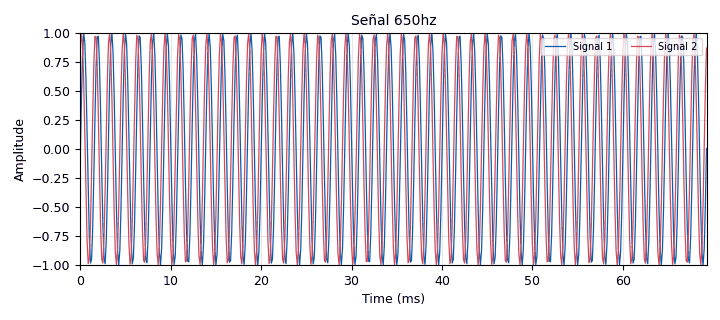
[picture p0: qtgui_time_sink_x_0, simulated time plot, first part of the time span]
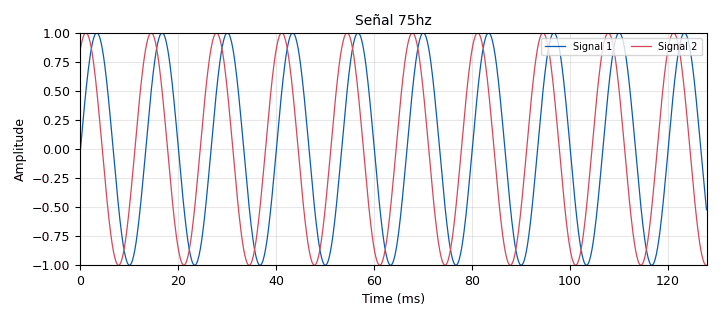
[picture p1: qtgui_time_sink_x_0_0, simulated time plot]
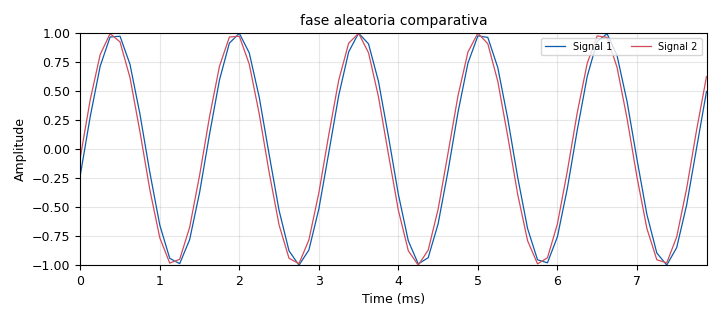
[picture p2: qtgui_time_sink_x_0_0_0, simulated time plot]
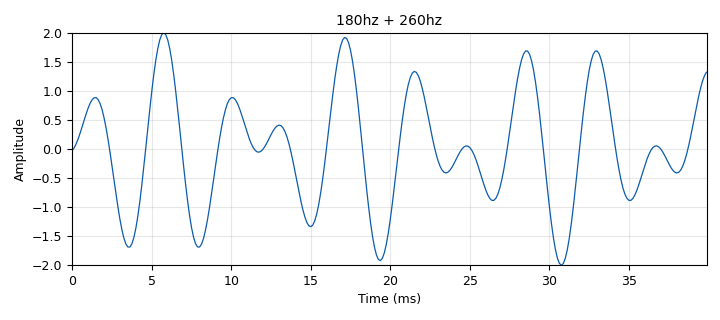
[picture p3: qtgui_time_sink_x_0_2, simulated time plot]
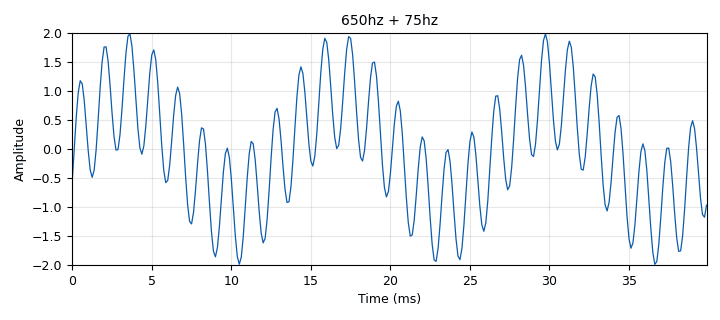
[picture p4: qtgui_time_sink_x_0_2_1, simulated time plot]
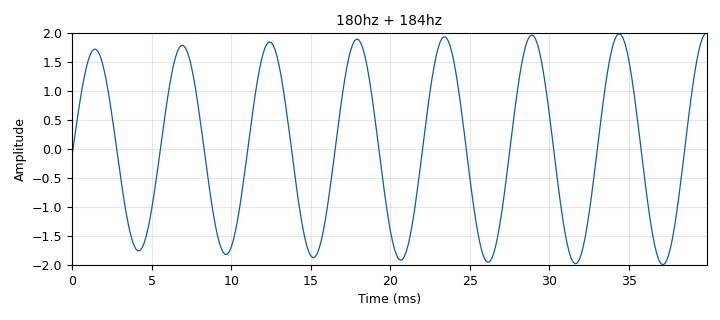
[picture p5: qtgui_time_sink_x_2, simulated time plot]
options:
  parameters:
    generate_options: qt_gui
    id: LAB_1_P1
    output_language: python
    title: LAB_1_P1
  states: {}

blocks:
- name: fase_random
  id: variable
  parameters:
    value: __import__('random').uniform(-1.0472, 1.0472)
  states: {}
- name: samp_rate
  id: variable
  parameters:
    value: '8000'
  states: {}
- name: analog_noise_source_x_0
  id: analog_noise_source_x
  parameters:
    amp: '1.3'
    noise_type: analog.GR_UNIFORM
    seed: '0'
    type: float
  states: {}
- name: analog_noise_source_x_0_0
  id: analog_noise_source_x
  parameters:
    amp: '0.35'
    noise_type: analog.GR_UNIFORM
    seed: '0'
    type: float
  states: {}
- name: analog_sig_source_x_0
  id: analog_sig_source_x
  parameters:
    amp: '1'
    freq: '650'
    offset: '0'
    phase: '0'
    samp_rate: samp_rate
    type: float
    waveform: analog.GR_SIN_WAVE
  states: {}
- name: analog_sig_source_x_0_0
  id: analog_sig_source_x
  parameters:
    amp: '1'
    freq: '650'
    offset: '0'
    phase: '1.0472'
    samp_rate: samp_rate
    type: float
    waveform: analog.GR_SIN_WAVE
  states: {}
- name: analog_sig_source_x_0_1
  id: analog_sig_source_x
  parameters:
    amp: '1'
    freq: '650'
    offset: '0'
    phase: '0'
    samp_rate: samp_rate
    type: float
    waveform: analog.GR_SIN_WAVE
  states: {}
- name: analog_sig_source_x_0_1_0
  id: analog_sig_source_x
  parameters:
    amp: '1'
    freq: '75'
    offset: '0'
    phase: '0'
    samp_rate: samp_rate
    type: float
    waveform: analog.GR_SIN_WAVE
  states: {}
- name: analog_sig_source_x_1
  id: analog_sig_source_x
  parameters:
    amp: '1'
    freq: '75'
    offset: '0'
    phase: '0'
    samp_rate: samp_rate
    type: float
    waveform: analog.GR_SIN_WAVE
  states: {}
- name: analog_sig_source_x_1_0
  id: analog_sig_source_x
  parameters:
    amp: '1'
    freq: '75'
    offset: '0'
    phase: '1.0472'
    samp_rate: samp_rate
    type: float
    waveform: analog.GR_SIN_WAVE
  states: {}
- name: analog_sig_source_x_1_1
  id: analog_sig_source_x
  parameters:
    amp: '1'
    freq: '180'
    offset: '0'
    phase: '0'
    samp_rate: samp_rate
    type: float
    waveform: analog.GR_SIN_WAVE
  states: {}
- name: analog_sig_source_x_1_1_1
  id: analog_sig_source_x
  parameters:
    amp: '1'
    freq: '650'
    offset: '0'
    phase: '0'
    samp_rate: samp_rate
    type: float
    waveform: analog.GR_SIN_WAVE
  states: {}
- name: analog_sig_source_x_1_1_1_0
  id: analog_sig_source_x
  parameters:
    amp: '1'
    freq: '650'
    offset: '0'
    phase: '0'
    samp_rate: samp_rate
    type: float
    waveform: analog.GR_SIN_WAVE
  states: {}
- name: analog_sig_source_x_1_1_1_0_0
  id: analog_sig_source_x
  parameters:
    amp: '1'
    freq: '650'
    offset: '0'
    phase: '0'
    samp_rate: samp_rate
    type: float
    waveform: analog.GR_SIN_WAVE
  states: {}
- name: analog_sig_source_x_2
  id: analog_sig_source_x
  parameters:
    amp: '1'
    freq: '260'
    offset: '0'
    phase: '0'
    samp_rate: samp_rate
    type: float
    waveform: analog.GR_SIN_WAVE
  states: {}
- name: analog_sig_source_x_2_1
  id: analog_sig_source_x
  parameters:
    amp: '1'
    freq: '75'
    offset: '0'
    phase: '0'
    samp_rate: samp_rate
    type: float
    waveform: analog.GR_SIN_WAVE
  states: {}
- name: analog_sig_source_x_3
  id: analog_sig_source_x
  parameters:
    amp: '1'
    freq: '180'
    offset: '0'
    phase: '0'
    samp_rate: samp_rate
    type: float
    waveform: analog.GR_SIN_WAVE
  states: {}
- name: analog_sig_source_x_4
  id: analog_sig_source_x
  parameters:
    amp: '1'
    freq: '184'
    offset: '0'
    phase: '0'
    samp_rate: samp_rate
    type: float
    waveform: analog.GR_SIN_WAVE
  states: {}
- name: analog_sig_source_x_6
  id: analog_sig_source_x
  parameters:
    amp: '1'
    freq: '650'
    offset: '0'
    phase: fase_random
    samp_rate: samp_rate
    type: float
    waveform: analog.GR_SIN_WAVE
  states: {}
- name: analog_sig_source_x_6_0
  id: analog_sig_source_x
  parameters:
    amp: '1'
    freq: '650'
    offset: '0'
    phase: '0'
    samp_rate: samp_rate
    type: float
    waveform: analog.GR_SIN_WAVE
  states: {}
- name: audio_sink_1_0
  id: audio_sink
  parameters:
    samp_rate: samp_rate
  states: {}
- name: audio_sink_1_0_0
  id: audio_sink
  parameters:
    samp_rate: samp_rate
  states: {}
- name: audio_sink_1_0_1
  id: audio_sink
  parameters:
    samp_rate: samp_rate
  states: {}
- name: audio_sink_1_0_2
  id: audio_sink
  parameters:
    samp_rate: samp_rate
  states: {}
- name: audio_sink_1_0_3
  id: audio_sink
  parameters:
    samp_rate: samp_rate
  states: {}
- name: blocks_add_const_vxx_0
  id: blocks_add_const_vxx
  parameters:
    const: '0.5'
    type: float
  states: {}
- name: blocks_add_const_vxx_0_0
  id: blocks_add_const_vxx
  parameters:
    const: '0.75'
    type: float
  states: {}
- name: blocks_add_xx_0
  id: blocks_add_xx
  parameters:
    type: float
  states: {}
- name: blocks_add_xx_0_1
  id: blocks_add_xx
  parameters:
    type: float
  states: {}
- name: blocks_add_xx_1
  id: blocks_add_xx
  parameters:
    type: float
  states: {}
- name: blocks_add_xx_2
  id: blocks_add_xx
  parameters:
    type: float
  states: {}
- name: blocks_multiply_const_vxx_0
  id: blocks_multiply_const_vxx
  parameters:
    const: '0.5'
    type: float
  states: {}
- name: blocks_multiply_const_vxx_0_0
  id: blocks_multiply_const_vxx
  parameters:
    const: '0.5'
    type: float
  states: {}
- name: blocks_multiply_const_vxx_0_0_0
  id: blocks_multiply_const_vxx
  parameters:
    const: '0.5'
    type: float
  states: {}
- name: blocks_multiply_const_vxx_0_0_1
  id: blocks_multiply_const_vxx
  parameters:
    const: '0.5'
    type: float
  states: {}
- name: blocks_multiply_const_vxx_0_1
  id: blocks_multiply_const_vxx
  parameters:
    const: '0.5'
    type: float
  states: {}
- name: blocks_multiply_xx_0
  id: blocks_multiply_xx
  parameters:
    type: float
  states: {}
- name: blocks_throttle2_0
  id: blocks_throttle2
  parameters:
    limit: time
    maximum: '1.2'
    samples_per_second: samp_rate
    type: float
  states: {}
- name: blocks_throttle2_0_0
  id: blocks_throttle2
  parameters:
    limit: time
    maximum: '1.2'
    samples_per_second: samp_rate
    type: float
  states: {}
- name: blocks_throttle2_0_0_0
  id: blocks_throttle2
  parameters:
    limit: time
    maximum: '1.2'
    samples_per_second: samp_rate
    type: float
  states: {}
- name: blocks_throttle2_0_0_0_0
  id: blocks_throttle2
  parameters:
    limit: time
    maximum: '1.2'
    samples_per_second: samp_rate
    type: float
  states: {}
- name: blocks_throttle2_0_0_1
  id: blocks_throttle2
  parameters:
    limit: time
    maximum: '1.2'
    samples_per_second: samp_rate
    type: float
  states: {}
- name: blocks_throttle2_0_0_1_1
  id: blocks_throttle2
  parameters:
    limit: time
    maximum: '1.2'
    samples_per_second: samp_rate
    type: float
  states: {}
- name: blocks_throttle2_0_0_2
  id: blocks_throttle2
  parameters:
    limit: time
    maximum: '1.2'
    samples_per_second: samp_rate
    type: float
  states: {}
- name: blocks_throttle2_0_1
  id: blocks_throttle2
  parameters:
    limit: time
    maximum: '1.2'
    samples_per_second: samp_rate
    type: float
  states: {}
- name: blocks_throttle2_0_2
  id: blocks_throttle2
  parameters:
    samples_per_second: samp_rate
    type: float
  states: {}
- name: blocks_throttle2_0_2_0
  id: blocks_throttle2
  parameters:
    samples_per_second: samp_rate
    type: float
  states: {}
- name: blocks_throttle2_1
  id: blocks_throttle2
  parameters:
    limit: time
    maximum: '1.2'
    samples_per_second: samp_rate
    type: float
  states: {}
- name: blocks_throttle2_1_0
  id: blocks_throttle2
  parameters:
    limit: time
    maximum: '0.8'
    samples_per_second: samp_rate
    type: float
  states: {}
- name: blocks_throttle2_1_0_0
  id: blocks_throttle2
  parameters:
    limit: time
    maximum: '0.8'
    samples_per_second: samp_rate
    type: float
  states: {}
- name: qtgui_time_sink_x_0
  id: qtgui_time_sink_x
  parameters:
    name: '"Señal 650hz"'
    nconnections: '2'
    size: '1024'
    srate: samp_rate
    tr_mode: qtgui.TRIG_MODE_NORM
    type: float
  states: {}
- name: qtgui_time_sink_x_0_0
  id: qtgui_time_sink_x
  parameters:
    name: '"Señal 75hz"'
    nconnections: '2'
    size: '1024'
    srate: samp_rate
    tr_mode: qtgui.TRIG_MODE_NORM
    type: float
  states: {}
- name: qtgui_time_sink_x_0_0_0
  id: qtgui_time_sink_x
  parameters:
    name: '"fase aleatoria comparativa"'
    nconnections: '2'
    size: '64'
    srate: samp_rate
    tr_mode: qtgui.TRIG_MODE_NORM
    type: float
  states: {}
- name: qtgui_time_sink_x_0_2
  id: qtgui_time_sink_x
  parameters:
    name: '"180hz + 260hz"'
    size: '320'
    srate: samp_rate
    tr_mode: qtgui.TRIG_MODE_NORM
    type: float
    ymax: '2'
    ymin: '-2'
  states: {}
- name: qtgui_time_sink_x_0_2_1
  id: qtgui_time_sink_x
  parameters:
    name: '"650hz + 75hz"'
    size: '320'
    srate: samp_rate
    tr_mode: qtgui.TRIG_MODE_NORM
    type: float
    ymax: '2'
    ymin: '-2'
  states: {}
- name: qtgui_time_sink_x_2
  id: qtgui_time_sink_x
  parameters:
    name: '"180hz + 184hz"'
    size: '320'
    srate: samp_rate
    tr_mode: qtgui.TRIG_MODE_NORM
    type: float
    ymax: '2'
    ymin: '-2'
  states: {}
- name: qtgui_time_sink_x_2_0
  id: qtgui_time_sink_x
  parameters:
    name: '" punto 5 uniforme + 650hz"'
    size: '64'
    srate: samp_rate
    tr_mode: qtgui.TRIG_MODE_NORM
    type: float
    ymax: '2'
    ymin: '-2'
  states: {}
- name: qtgui_time_sink_x_2_0_0
  id: qtgui_time_sink_x
  parameters:
    name: '" punto 6 uniforme + 650hz"'
    size: '64'
    srate: samp_rate
    tr_mode: qtgui.TRIG_MODE_NORM
    type: float
    ymax: '2'
    ymin: '-2'
  states: {}

connections:
- [analog_noise_source_x_0, '0', blocks_add_const_vxx_0, '0']
- [analog_noise_source_x_0_0, '0', blocks_add_const_vxx_0_0, '0']
- [analog_sig_source_x_0, '0', blocks_throttle2_0, '0']
- [analog_sig_source_x_0_0, '0', blocks_throttle2_0_1, '0']
- [analog_sig_source_x_0_1, '0', blocks_throttle2_0_2, '0']
- [analog_sig_source_x_0_1_0, '0', blocks_throttle2_0_2_0, '0']
- [analog_sig_source_x_1, '0', blocks_throttle2_0_0, '0']
- [analog_sig_source_x_1_0, '0', blocks_throttle2_0_0_0, '0']
- [analog_sig_source_x_1_1, '0', blocks_add_xx_0, '0']
- [analog_sig_source_x_1_1_1, '0', blocks_add_xx_0_1, '0']
- [analog_sig_source_x_1_1_1_0, '0', blocks_add_xx_2, '1']
- [analog_sig_source_x_1_1_1_0_0, '0', blocks_multiply_xx_0, '1']
- [analog_sig_source_x_2, '0', blocks_add_xx_0, '1']
- [analog_sig_source_x_2_1, '0', blocks_add_xx_0_1, '1']
- [analog_sig_source_x_3, '0', blocks_add_xx_1, '0']
- [analog_sig_source_x_4, '0', blocks_add_xx_1, '1']
- [analog_sig_source_x_6, '0', blocks_throttle2_0_0_2, '0']
- [analog_sig_source_x_6_0, '0', blocks_throttle2_0_0_0_0, '0']
- [blocks_add_const_vxx_0, '0', blocks_add_xx_2, '0']
- [blocks_add_const_vxx_0_0, '0', blocks_multiply_xx_0, '0']
- [blocks_add_xx_0, '0', blocks_throttle2_0_0_1, '0']
- [blocks_add_xx_0_1, '0', blocks_throttle2_0_0_1_1, '0']
- [blocks_add_xx_1, '0', blocks_throttle2_1, '0']
- [blocks_add_xx_2, '0', blocks_throttle2_1_0, '0']
- [blocks_multiply_const_vxx_0, '0', audio_sink_1_0_0, '0']
- [blocks_multiply_const_vxx_0_0, '0', audio_sink_1_0, '0']
- [blocks_multiply_const_vxx_0_0_0, '0', audio_sink_1_0_2, '0']
- [blocks_multiply_const_vxx_0_0_1, '0', audio_sink_1_0_3, '0']
- [blocks_multiply_const_vxx_0_1, '0', audio_sink_1_0_1, '0']
- [blocks_multiply_xx_0, '0', blocks_throttle2_1_0_0, '0']
- [blocks_throttle2_0, '0', qtgui_time_sink_x_0, '0']
- [blocks_throttle2_0_0, '0', qtgui_time_sink_x_0_0, '0']
- [blocks_throttle2_0_0_0, '0', qtgui_time_sink_x_0_0, '1']
- [blocks_throttle2_0_0_0_0, '0', qtgui_time_sink_x_0_0_0, '1']
- [blocks_throttle2_0_0_1, '0', blocks_multiply_const_vxx_0, '0']
- [blocks_throttle2_0_0_1, '0', qtgui_time_sink_x_0_2, '0']
- [blocks_throttle2_0_0_1_1, '0', blocks_multiply_const_vxx_0_0, '0']
- [blocks_throttle2_0_0_1_1, '0', qtgui_time_sink_x_0_2_1, '0']
- [blocks_throttle2_0_0_2, '0', qtgui_time_sink_x_0_0_0, '0']
- [blocks_throttle2_0_1, '0', qtgui_time_sink_x_0, '1']
- [blocks_throttle2_0_2, '0', blocks_multiply_const_vxx_0_0_1, '0']
- [blocks_throttle2_0_2_0, '0', blocks_multiply_const_vxx_0_0_0, '0']
- [blocks_throttle2_1, '0', blocks_multiply_const_vxx_0_1, '0']
- [blocks_throttle2_1, '0', qtgui_time_sink_x_2, '0']
- [blocks_throttle2_1_0, '0', qtgui_time_sink_x_2_0, '0']
- [blocks_throttle2_1_0_0, '0', qtgui_time_sink_x_2_0_0, '0']

metadata:
  file_format: 1
  grc_version: 3.10.9.2
